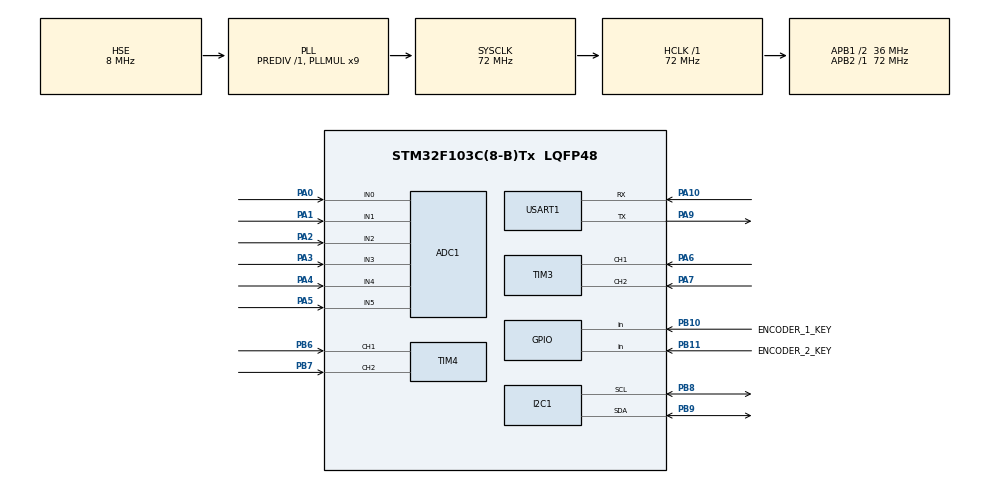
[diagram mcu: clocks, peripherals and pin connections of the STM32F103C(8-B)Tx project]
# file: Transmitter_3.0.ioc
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ADC1.Channel-1\#ChannelRegularConversion=ADC_CHANNEL_VREFINT
ADC1.Channel-2\#ChannelRegularConversion=ADC_CHANNEL_0
ADC1.Channel-3\#ChannelRegularConversion=ADC_CHANNEL_1
ADC1.Channel-4\#ChannelRegularConversion=ADC_CHANNEL_2
ADC1.Channel-5\#ChannelRegularConversion=ADC_CHANNEL_3
ADC1.Channel-6\#ChannelRegularConversion=ADC_CHANNEL_4
ADC1.Channel-7\#ChannelRegularConversion=ADC_CHANNEL_5
ADC1.ContinuousConvMode=ENABLE
ADC1.NbrOfConversion=7
ADC1.NbrOfConversionFlag=1
ADC1.Rank-1\#ChannelRegularConversion=1
ADC1.Rank-2\#ChannelRegularConversion=2
ADC1.Rank-3\#ChannelRegularConversion=3
ADC1.Rank-4\#ChannelRegularConversion=4
ADC1.Rank-5\#ChannelRegularConversion=5
ADC1.Rank-6\#ChannelRegularConversion=6
ADC1.Rank-7\#ChannelRegularConversion=7
ADC1.SamplingTime-1\#ChannelRegularConversion=ADC_SAMPLETIME_239CYCLES_5
ADC1.SamplingTime-2\#ChannelRegularConversion=ADC_SAMPLETIME_239CYCLES_5
ADC1.SamplingTime-3\#ChannelRegularConversion=ADC_SAMPLETIME_239CYCLES_5
ADC1.SamplingTime-4\#ChannelRegularConversion=ADC_SAMPLETIME_239CYCLES_5
ADC1.SamplingTime-5\#ChannelRegularConversion=ADC_SAMPLETIME_239CYCLES_5
ADC1.SamplingTime-6\#ChannelRegularConversion=ADC_SAMPLETIME_239CYCLES_5
ADC1.SamplingTime-7\#ChannelRegularConversion=ADC_SAMPLETIME_239CYCLES_5
ADC1.master=1
Dma.ADC1.0.Direction=DMA_PERIPH_TO_MEMORY
Dma.ADC1.0.Instance=DMA1_Channel1
Dma.ADC1.0.MemDataAlignment=DMA_MDATAALIGN_HALFWORD
Dma.ADC1.0.MemInc=DMA_MINC_ENABLE
Dma.ADC1.0.Mode=DMA_CIRCULAR
Dma.ADC1.0.PeriphDataAlignment=DMA_PDATAALIGN_HALFWORD
Dma.ADC1.0.PeriphInc=DMA_PINC_DISABLE
Dma.ADC1.0.Priority=DMA_PRIORITY_LOW
Dma.Request0=ADC1
Mcu.Family=STM32F1
Mcu.Name=STM32F103C(8-B)Tx
Mcu.Package=LQFP48
NVIC.DMA1_Channel1_IRQn=true\:0\:0\:false\:false\:true\:false\:true\:true
NVIC.I2C1_ER_IRQn=true\:0\:0\:false\:false\:true\:true\:true\:true
NVIC.I2C1_EV_IRQn=true\:0\:0\:false\:false\:true\:true\:true\:true
NVIC.PriorityGroup=NVIC_PRIORITYGROUP_4
PA0-WKUP.Signal=ADCx_IN0
PA1.Signal=ADCx_IN1
PA10.Mode=Asynchronous
PA10.Signal=USART1_RX
PA13.Mode=Serial_Wire
PA13.Signal=SYS_JTMS-SWDIO
PA14.Mode=Serial_Wire
PA14.Signal=SYS_JTCK-SWCLK
PA2.Signal=ADCx_IN2
PA3.Signal=ADCx_IN3
PA4.Signal=ADCx_IN4
PA5.Signal=ADCx_IN5
PA6.GPIO_PuPd=GPIO_NOPULL
PA6.Signal=S_TIM3_CH1
PA7.GPIO_PuPd=GPIO_NOPULL
PA7.Signal=S_TIM3_CH2
PA9.Mode=Asynchronous
PA9.Signal=USART1_TX
PB10.GPIO_Label=ENCODER_1_KEY
PB10.GPIO_PuPd=GPIO_PULLUP
PB10.Signal=GPIO_Input
PB11.GPIO_Label=ENCODER_2_KEY
PB11.GPIO_PuPd=GPIO_PULLUP
PB11.Signal=GPIO_Input
PB6.Signal=S_TIM4_CH1
PB7.Signal=S_TIM4_CH2
PB8.Mode=I2C
PB8.Signal=I2C1_SCL
PB9.Mode=I2C
PB9.Signal=I2C1_SDA
PC14-OSC32_IN.Mode=LSE-External-Oscillator
PC14-OSC32_IN.Signal=RCC_OSC32_IN
PC15-OSC32_OUT.Mode=LSE-External-Oscillator
PC15-OSC32_OUT.Signal=RCC_OSC32_OUT
PD0-OSC_IN.Mode=HSE-External-Oscillator
PD0-OSC_IN.Signal=RCC_OSC_IN
PD1-OSC_OUT.Mode=HSE-External-Oscillator
PD1-OSC_OUT.Signal=RCC_OSC_OUT
ProjectManager.HeapSize=0x200
ProjectManager.StackSize=0x400
ProjectManager.TargetToolchain=STM32CubeIDE
RCC.ADCPresc=RCC_ADCPCLK2_DIV8
RCC.AHBFreq_Value=72000000
RCC.APB1CLKDivider=RCC_HCLK_DIV2
RCC.APB1Freq_Value=36000000
RCC.APB1TimFreq_Value=72000000
RCC.APB2Freq_Value=72000000
RCC.APB2TimFreq_Value=72000000
RCC.HCLKFreq_Value=72000000
RCC.PLLMUL=RCC_PLL_MUL9
RCC.PLLSourceVirtual=RCC_PLLSOURCE_HSE
RCC.SYSCLKFreq_VALUE=72000000
RCC.SYSCLKSource=RCC_SYSCLKSOURCE_PLLCLK
RCC.USBFreq_Value=72000000
SH.ADCx_IN0.0=ADC1_IN0,IN0
SH.ADCx_IN1.0=ADC1_IN1,IN1
SH.ADCx_IN2.0=ADC1_IN2,IN2
SH.ADCx_IN3.0=ADC1_IN3,IN3
SH.ADCx_IN4.0=ADC1_IN4,IN4
SH.ADCx_IN5.0=ADC1_IN5,IN5
SH.S_TIM3_CH1.0=TIM3_CH1,Encoder_Interface
SH.S_TIM3_CH2.0=TIM3_CH2,Encoder_Interface
SH.S_TIM4_CH1.0=TIM4_CH1,Encoder_Interface
SH.S_TIM4_CH2.0=TIM4_CH2,Encoder_Interface
TIM3.AutoReloadPreload=TIM_AUTORELOAD_PRELOAD_ENABLE
TIM3.CounterMode=TIM_COUNTERMODE_CENTERALIGNED1
TIM3.EncoderMode=TIM_ENCODERMODE_TI12
TIM3.IC1Filter=10
TIM3.IC2Filter=10
TIM4.AutoReloadPreload=TIM_AUTORELOAD_PRELOAD_ENABLE
TIM4.CounterMode=TIM_COUNTERMODE_CENTERALIGNED1
TIM4.EncoderMode=TIM_ENCODERMODE_TI12
TIM4.IC1Filter=10
TIM4.IC2Filter=10
USART1.VirtualMode=VM_ASYNC
VP_ADC1_Vref_Input.Mode=IN-Vrefint
board=custom

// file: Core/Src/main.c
/* USER CODE BEGIN Header */
/**
 ******************************************************************************
 * @file           : main.c
 * @brief          : Main program body
 ******************************************************************************
 * @attention
 *
 * Copyright (c) 2024 STMicroelectronics.
 * All rights reserved.
 *
 * This software is licensed under terms that can be found in the LICENSE file
 * in the root directory of this software component.
 * If no LICENSE file comes with this software, it is provided AS-IS.
 *
 ******************************************************************************
 */
/* USER CODE END Header */
#include "main.h"

/* USER CODE BEGIN PD */
#define I2C_ADDRESS                                              0x20
#define I2C_ID_ADDRESS                                           0x20
/* USER CODE END PD */

ADC_HandleTypeDef hadc1;
DMA_HandleTypeDef hdma_adc1;

I2C_HandleTypeDef hi2c1;

TIM_HandleTypeDef htim3;
TIM_HandleTypeDef htim4;

UART_HandleTypeDef huart1;

/* USER CODE BEGIN PV */

uint8_t encoder_1_key_flag = 0;
uint32_t encoder_1_key_time = 0;
uint8_t encoder_1_key_short_state = 0;
uint8_t encoder_1_key_long_state = 0;

uint8_t encoder_2_key_flag = 0;
uint32_t encoder_2_key_time = 0;
uint8_t encoder_2_key_encoder_1_key_short_state = 0;
uint8_t encoder_2_key_encoder_1_key_long_state = 0;

uint16_t encoders_start_counter = 32767;
uint16_t encoder_1_prev_counter = 32767;
uint16_t encoder_2_encoder_1_prev_counter = 32767;
uint16_t encoder_1_cur_counter, encoder_2_encoder_1_cur_counter;

uint16_t adcData[7];

uint8_t transmit_data[20];
uint32_t tx_time;

uint8_t regData [2];
uint8_t regAddress = I2C_ID_ADDRESS;

/* USER CODE END PV */

void SystemClock_Config(void);
static void MX_GPIO_Init(void);
static void MX_DMA_Init(void);
static void MX_USART1_UART_Init(void);
static void MX_TIM3_Init(void);
static void MX_ADC1_Init(void);
static void MX_I2C1_Init(void);
static void MX_TIM4_Init(void);

int main(void)
{

  /* MCU Configuration--------------------------------------------------------*/

  /* Reset of all peripherals, Initializes the Flash interface and the Systick. */
  HAL_Init();

  /* Configure the system clock */
  SystemClock_Config();

  /* Initialize all configured peripherals */
  MX_GPIO_Init();
  MX_DMA_Init();
  MX_USART1_UART_Init();
  MX_TIM3_Init();
  MX_ADC1_Init();
  MX_I2C1_Init();
  MX_TIM4_Init();
  /* USER CODE BEGIN 2 */
	__HAL_TIM_SET_COUNTER(&htim3, encoders_start_counter);
	HAL_TIM_Encoder_Start(&htim3, TIM_CHANNEL_ALL);
	__HAL_TIM_SET_COUNTER(&htim4, encoders_start_counter);
	HAL_TIM_Encoder_Start(&htim4, TIM_CHANNEL_ALL);

	HAL_ADCEx_Calibration_Start(&hadc1);//калибровка ADC
	HAL_ADC_Start_DMA(&hadc1, (uint32_t*)adcData, 7);

	uint8_t message[100] = { '\0' };
	transmit_data[4] = 127;
	transmit_data[5] = 127;

  /* USER CODE END 2 */

  /* Infinite loop */
	while (1) {

    /* USER CODE BEGIN 3 */
		//обработка энкодера 1
		encoder_1_cur_counter = __HAL_TIM_GET_COUNTER(&htim3);
		if (encoder_1_cur_counter != encoder_1_prev_counter) {
			if (encoder_1_cur_counter > encoder_1_prev_counter) {
				if (transmit_data[4] > 251) {
					transmit_data[4] = 255;
				} else {
					transmit_data[4] += 2;
				}
			} else {
				if (transmit_data[4] < 4) {
					transmit_data[4] = 0;
				} else {
					transmit_data[4] -= 2;
				}
			}
			encoder_1_prev_counter = encoder_1_cur_counter;
		}

		//обработка энкодера 2
		encoder_2_encoder_1_cur_counter = __HAL_TIM_GET_COUNTER(&htim4);
		if (encoder_2_encoder_1_cur_counter != encoder_2_encoder_1_prev_counter) {
			if (encoder_2_encoder_1_cur_counter > encoder_2_encoder_1_prev_counter) {
				if (transmit_data[5] > 251) {
					transmit_data[5] = 255;
				} else {
					transmit_data[5] += 2;
				}
			} else {
				if (transmit_data[5] < 4) {
					transmit_data[5] = 0;
				} else {
					transmit_data[5] -= 2;
				}
			}
			encoder_2_encoder_1_prev_counter = encoder_2_encoder_1_cur_counter;
		}

		//обработка кнопки энкодера 1
		if (HAL_GPIO_ReadPin(ENCODER_1_KEY_GPIO_Port, ENCODER_1_KEY_Pin)) {
			encoder_1_key_flag = 1;
		}
		if (encoder_1_key_flag) {
			uint32_t ms = HAL_GetTick();
			uint8_t key1_state = HAL_GPIO_ReadPin(ENCODER_1_KEY_GPIO_Port, ENCODER_1_KEY_Pin);
			if (key1_state == 0 && !encoder_1_key_short_state && (ms - encoder_1_key_time) > 50) {
				encoder_1_key_short_state = 1;
				encoder_1_key_long_state = 0;
				encoder_1_key_time = ms;
			} else if (key1_state == 0 && !encoder_1_key_long_state
					&& (ms - encoder_1_key_time) > 2000) {
				encoder_1_key_long_state = 1;

			} else if (key1_state == 1 && encoder_1_key_short_state
					&& (ms - encoder_1_key_time) > 50) {
				encoder_1_key_short_state = 0;
				encoder_1_key_time = ms;
				if (!encoder_1_key_long_state) {

					transmit_data[4] = 127;
				}
			}
		}

		//обработка кнопки энкодера 2
		if (HAL_GPIO_ReadPin(ENCODER_2_KEY_GPIO_Port, ENCODER_2_KEY_Pin)) {
			encoder_2_key_flag = 1;
		}
		if (encoder_2_key_flag) {
			uint32_t ms_2 = HAL_GetTick();
			uint8_t key2_state = HAL_GPIO_ReadPin(ENCODER_2_KEY_GPIO_Port, ENCODER_2_KEY_Pin);
			if (key2_state == 0 && !encoder_2_key_encoder_1_key_short_state && (ms_2 - encoder_2_key_time) > 50) {
				encoder_2_key_encoder_1_key_short_state = 1;
				encoder_2_key_encoder_1_key_long_state = 0;
				encoder_2_key_time = ms_2;
			} else if (key2_state == 0 && !encoder_2_key_encoder_1_key_long_state
					&& (ms_2 - encoder_2_key_time) > 2000) {
				encoder_2_key_encoder_1_key_long_state = 1;

			} else if (key2_state == 1 && encoder_2_key_encoder_1_key_short_state
					&& (ms_2 - encoder_2_key_time) > 50) {
				encoder_2_key_encoder_1_key_short_state = 0;
				encoder_2_key_time = ms_2;
				if (!encoder_2_key_encoder_1_key_long_state) {

					transmit_data[5] = 127;
				}
			}
		}

		//обработка потенциометров
		transmit_data[0]=adcData[2]*255/4095;
		transmit_data[1]=adcData[3]*255/4095;
		transmit_data[2]=adcData[4]*255/4095;
		transmit_data[3]=adcData[5]*255/4095;
		//(x - in_min) * (out_max - out_min) / (in_max - in_min) + out_min;

		//запрос в расширитель портов pcf8575

		HAL_I2C_Master_Transmit_IT(&hi2c1, (I2C_ADDRESS << 1), &regAddress, 1);

		//отправка данных в uart
		if (HAL_GetTick() - tx_time > 100) { //каждые 100 мс
			sprintf(message,
					"%d %d %d %d %d %d %d %d %d %d %d %d %d %d %d %d %d %d %d %d\n\r",
					transmit_data[0], transmit_data[1], transmit_data[2],
					transmit_data[3], transmit_data[4], transmit_data[5],
					transmit_data[6], transmit_data[7], transmit_data[8],
					transmit_data[9], transmit_data[10], transmit_data[11],
					transmit_data[12], transmit_data[13], transmit_data[14],
					transmit_data[15], transmit_data[16], transmit_data[17],
					transmit_data[18], transmit_data[19]);
			HAL_UART_Transmit(&huart1, message, sizeof(message), 200);
			tx_time = HAL_GetTick();
		}

	}
  /* USER CODE END 3 */
}

void SystemClock_Config(void)
{
  RCC_OscInitTypeDef RCC_OscInitStruct = {0};
  RCC_ClkInitTypeDef RCC_ClkInitStruct = {0};
  RCC_PeriphCLKInitTypeDef PeriphClkInit = {0};

  /** Initializes the RCC Oscillators according to the specified parameters
  * in the RCC_OscInitTypeDef structure.
  */
  RCC_OscInitStruct.OscillatorType = RCC_OSCILLATORTYPE_HSE;
  RCC_OscInitStruct.HSEState = RCC_HSE_ON;
  RCC_OscInitStruct.HSEPredivValue = RCC_HSE_PREDIV_DIV1;
  RCC_OscInitStruct.HSIState = RCC_HSI_ON;
  RCC_OscInitStruct.PLL.PLLState = RCC_PLL_ON;
  RCC_OscInitStruct.PLL.PLLSource = RCC_PLLSOURCE_HSE;
  RCC_OscInitStruct.PLL.PLLMUL = RCC_PLL_MUL9;
  if (HAL_RCC_OscConfig(&RCC_OscInitStruct) != HAL_OK)
  {
    Error_Handler();
  }

  /** Initializes the CPU, AHB and APB buses clocks
  */
  RCC_ClkInitStruct.ClockType = RCC_CLOCKTYPE_HCLK|RCC_CLOCKTYPE_SYSCLK
                              |RCC_CLOCKTYPE_PCLK1|RCC_CLOCKTYPE_PCLK2;
  RCC_ClkInitStruct.SYSCLKSource = RCC_SYSCLKSOURCE_PLLCLK;
  RCC_ClkInitStruct.AHBCLKDivider = RCC_SYSCLK_DIV1;
  RCC_ClkInitStruct.APB1CLKDivider = RCC_HCLK_DIV2;
  RCC_ClkInitStruct.APB2CLKDivider = RCC_HCLK_DIV1;

  if (HAL_RCC_ClockConfig(&RCC_ClkInitStruct, FLASH_LATENCY_2) != HAL_OK)
  {
    Error_Handler();
  }
  PeriphClkInit.PeriphClockSelection = RCC_PERIPHCLK_ADC;
  PeriphClkInit.AdcClockSelection = RCC_ADCPCLK2_DIV8;
  if (HAL_RCCEx_PeriphCLKConfig(&PeriphClkInit) != HAL_OK)
  {
    Error_Handler();
  }
}

static void MX_ADC1_Init(void)
{

  ADC_ChannelConfTypeDef sConfig = {0};

  /** Common config
  */
  hadc1.Instance = ADC1;
  hadc1.Init.ScanConvMode = ADC_SCAN_ENABLE;
  hadc1.Init.ContinuousConvMode = ENABLE;
  hadc1.Init.DiscontinuousConvMode = DISABLE;
  hadc1.Init.ExternalTrigConv = ADC_SOFTWARE_START;
  hadc1.Init.DataAlign = ADC_DATAALIGN_RIGHT;
  hadc1.Init.NbrOfConversion = 7;
  if (HAL_ADC_Init(&hadc1) != HAL_OK)
  {
    Error_Handler();
  }

  /** Configure Regular Channel
  */
  sConfig.Channel = ADC_CHANNEL_VREFINT;
  sConfig.Rank = ADC_REGULAR_RANK_1;
  sConfig.SamplingTime = ADC_SAMPLETIME_239CYCLES_5;
  if (HAL_ADC_ConfigChannel(&hadc1, &sConfig) != HAL_OK)
  {
    Error_Handler();
  }

  /** Configure Regular Channel
  */
  sConfig.Channel = ADC_CHANNEL_0;
  sConfig.Rank = ADC_REGULAR_RANK_2;
  if (HAL_ADC_ConfigChannel(&hadc1, &sConfig) != HAL_OK)
  {
    Error_Handler();
  }

  /** Configure Regular Channel
  */
  sConfig.Channel = ADC_CHANNEL_1;
  sConfig.Rank = ADC_REGULAR_RANK_3;
  if (HAL_ADC_ConfigChannel(&hadc1, &sConfig) != HAL_OK)
  {
    Error_Handler();
  }

  /** Configure Regular Channel
  */
  sConfig.Channel = ADC_CHANNEL_2;
  sConfig.Rank = ADC_REGULAR_RANK_4;
  if (HAL_ADC_ConfigChannel(&hadc1, &sConfig) != HAL_OK)
  {
    Error_Handler();
  }

  /** Configure Regular Channel
  */
  sConfig.Channel = ADC_CHANNEL_3;
  sConfig.Rank = ADC_REGULAR_RANK_5;
  if (HAL_ADC_ConfigChannel(&hadc1, &sConfig) != HAL_OK)
  {
    Error_Handler();
  }

  /** Configure Regular Channel
  */
  sConfig.Channel = ADC_CHANNEL_4;
  sConfig.Rank = ADC_REGULAR_RANK_6;
  if (HAL_ADC_ConfigChannel(&hadc1, &sConfig) != HAL_OK)
  {
    Error_Handler();
  }

  /** Configure Regular Channel
  */
  sConfig.Channel = ADC_CHANNEL_5;
  sConfig.Rank = ADC_REGULAR_RANK_7;
  if (HAL_ADC_ConfigChannel(&hadc1, &sConfig) != HAL_OK)
  {
    Error_Handler();
  }

}

static void MX_I2C1_Init(void)
{

  hi2c1.Instance = I2C1;
  hi2c1.Init.ClockSpeed = 100000;
  hi2c1.Init.DutyCycle = I2C_DUTYCYCLE_2;
  hi2c1.Init.OwnAddress1 = 0;
  hi2c1.Init.AddressingMode = I2C_ADDRESSINGMODE_7BIT;
  hi2c1.Init.DualAddressMode = I2C_DUALADDRESS_DISABLE;
  hi2c1.Init.OwnAddress2 = 0;
  hi2c1.Init.GeneralCallMode = I2C_GENERALCALL_DISABLE;
  hi2c1.Init.NoStretchMode = I2C_NOSTRETCH_DISABLE;
  if (HAL_I2C_Init(&hi2c1) != HAL_OK)
  {
    Error_Handler();
  }

}

static void MX_TIM3_Init(void)
{

  TIM_Encoder_InitTypeDef sConfig = {0};
  TIM_MasterConfigTypeDef sMasterConfig = {0};

  htim3.Instance = TIM3;
  htim3.Init.Prescaler = 0;
  htim3.Init.CounterMode = TIM_COUNTERMODE_CENTERALIGNED1;
  htim3.Init.Period = 65535;
  htim3.Init.ClockDivision = TIM_CLOCKDIVISION_DIV1;
  htim3.Init.AutoReloadPreload = TIM_AUTORELOAD_PRELOAD_ENABLE;
  sConfig.EncoderMode = TIM_ENCODERMODE_TI12;
  sConfig.IC1Polarity = TIM_ICPOLARITY_RISING;
  sConfig.IC1Selection = TIM_ICSELECTION_DIRECTTI;
  sConfig.IC1Prescaler = TIM_ICPSC_DIV1;
  sConfig.IC1Filter = 10;
  sConfig.IC2Polarity = TIM_ICPOLARITY_RISING;
  sConfig.IC2Selection = TIM_ICSELECTION_DIRECTTI;
  sConfig.IC2Prescaler = TIM_ICPSC_DIV1;
  sConfig.IC2Filter = 10;
  if (HAL_TIM_Encoder_Init(&htim3, &sConfig) != HAL_OK)
  {
    Error_Handler();
  }
  sMasterConfig.MasterOutputTrigger = TIM_TRGO_RESET;
  sMasterConfig.MasterSlaveMode = TIM_MASTERSLAVEMODE_DISABLE;
  if (HAL_TIMEx_MasterConfigSynchronization(&htim3, &sMasterConfig) != HAL_OK)
  {
    Error_Handler();
  }

}

static void MX_TIM4_Init(void)
{

  TIM_Encoder_InitTypeDef sConfig = {0};
  TIM_MasterConfigTypeDef sMasterConfig = {0};

  htim4.Instance = TIM4;
  htim4.Init.Prescaler = 0;
  htim4.Init.CounterMode = TIM_COUNTERMODE_CENTERALIGNED1;
  htim4.Init.Period = 65535;
  htim4.Init.ClockDivision = TIM_CLOCKDIVISION_DIV1;
  htim4.Init.AutoReloadPreload = TIM_AUTORELOAD_PRELOAD_ENABLE;
  sConfig.EncoderMode = TIM_ENCODERMODE_TI12;
  sConfig.IC1Polarity = TIM_ICPOLARITY_RISING;
  sConfig.IC1Selection = TIM_ICSELECTION_DIRECTTI;
  sConfig.IC1Prescaler = TIM_ICPSC_DIV1;
  sConfig.IC1Filter = 10;
  sConfig.IC2Polarity = TIM_ICPOLARITY_RISING;
  sConfig.IC2Selection = TIM_ICSELECTION_DIRECTTI;
  sConfig.IC2Prescaler = TIM_ICPSC_DIV1;
  sConfig.IC2Filter = 10;
  if (HAL_TIM_Encoder_Init(&htim4, &sConfig) != HAL_OK)
  {
    Error_Handler();
  }
  sMasterConfig.MasterOutputTrigger = TIM_TRGO_RESET;
  sMasterConfig.MasterSlaveMode = TIM_MASTERSLAVEMODE_DISABLE;
  if (HAL_TIMEx_MasterConfigSynchronization(&htim4, &sMasterConfig) != HAL_OK)
  {
    Error_Handler();
  }

}

static void MX_USART1_UART_Init(void)
{

  huart1.Instance = USART1;
  huart1.Init.BaudRate = 115200;
  huart1.Init.WordLength = UART_WORDLENGTH_8B;
  huart1.Init.StopBits = UART_STOPBITS_1;
  huart1.Init.Parity = UART_PARITY_NONE;
  huart1.Init.Mode = UART_MODE_TX_RX;
  huart1.Init.HwFlowCtl = UART_HWCONTROL_NONE;
  huart1.Init.OverSampling = UART_OVERSAMPLING_16;
  if (HAL_UART_Init(&huart1) != HAL_OK)
  {
    Error_Handler();
  }

}

static void MX_DMA_Init(void)
{

  /* DMA controller clock enable */
  __HAL_RCC_DMA1_CLK_ENABLE();

  /* DMA interrupt init */
  /* DMA1_Channel1_IRQn interrupt configuration */
  HAL_NVIC_SetPriority(DMA1_Channel1_IRQn, 0, 0);
  HAL_NVIC_EnableIRQ(DMA1_Channel1_IRQn);

}

static void MX_GPIO_Init(void)
{
  GPIO_InitTypeDef GPIO_InitStruct = {0};

  /* GPIO Ports Clock Enable */
  __HAL_RCC_GPIOC_CLK_ENABLE();
  __HAL_RCC_GPIOD_CLK_ENABLE();
  __HAL_RCC_GPIOA_CLK_ENABLE();
  __HAL_RCC_GPIOB_CLK_ENABLE();

  /*Configure GPIO pins : ENCODER_1_KEY_Pin ENCODER_2_KEY_Pin */
  GPIO_InitStruct.Pin = ENCODER_1_KEY_Pin|ENCODER_2_KEY_Pin;
  GPIO_InitStruct.Mode = GPIO_MODE_INPUT;
  GPIO_InitStruct.Pull = GPIO_PULLUP;
  HAL_GPIO_Init(GPIOB, &GPIO_InitStruct);

}

/* USER CODE BEGIN 4 */

void HAL_I2C_MasterTxCpltCallback(I2C_HandleTypeDef *hi2c)
{

	HAL_I2C_Master_Receive_IT(&hi2c1, (I2C_ADDRESS << 1), regData, 2);

}
void HAL_I2C_MasterRxCpltCallback(I2C_HandleTypeDef *hi2c)
{
  // I2C data ready!

	transmit_data[18]= regData[0];
	transmit_data[19]= regData[1];

}

/* USER CODE END 4 */

void Error_Handler(void)
{
	__disable_irq();
	while (1) {
	}
}
